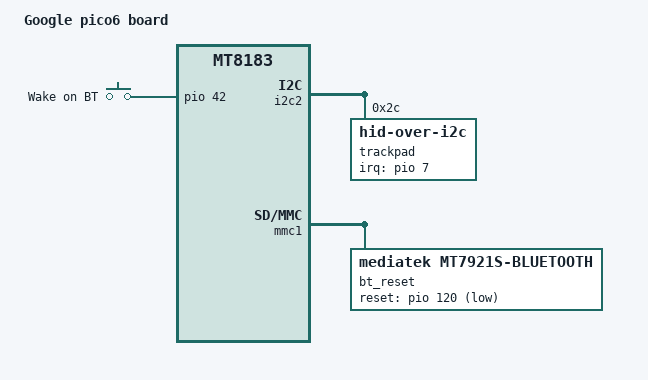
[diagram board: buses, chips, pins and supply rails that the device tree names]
// SPDX-License-Identifier: (GPL-2.0 OR MIT)
/*
 * Copyright 2023 Google LLC
 */

/dts-v1/;
#include "mt8183-kukui-jacuzzi.dtsi"
#include "mt8183-kukui-audio-ts3a227e-max98357a.dtsi"

/ {
	model = "Google pico6 board";
	chassis-type = "convertible";
	compatible = "google,pico-sku2", "google,pico", "mediatek,mt8183";

	bt_wakeup: bt-wakeup {
		compatible = "gpio-keys";
		pinctrl-names = "default";
		pinctrl-0 = <&bt_pins_wakeup>;

		wobt {
			label = "Wake on BT";
			gpios = <&pio 42 GPIO_ACTIVE_HIGH>;
			linux,code = <KEY_WAKEUP>;
			wakeup-source;
		};
	};
};

&i2c_tunnel {
	google,remote-bus = <0>;
};

&i2c2 {
	i2c-scl-internal-delay-ns = <25000>;

	trackpad@2c {
		compatible = "hid-over-i2c";
		reg = <0x2c>;
		hid-descr-addr = <0x20>;

		pinctrl-names = "default";
		pinctrl-0 = <&trackpad_pins>;

		interrupts-extended = <&pio 7 IRQ_TYPE_LEVEL_LOW>;

		wakeup-source;
	};
};

&wifi_wakeup {
	wowlan {
		gpios = <&pio 113 GPIO_ACTIVE_LOW>;
	};
};

&wifi_pwrseq {
	post-power-on-delay-ms = <50>;

	/* Toggle WIFI_ENABLE to reset the chip. */
	reset-gpios = <&pio 8 GPIO_ACTIVE_LOW>;
};

&wifi_pins_pwrseq {
	pins-wifi-enable {
		pinmux = <PINMUX_GPIO8__FUNC_GPIO8>;
	};
};

&mmc1_pins_default {
	pins-cmd-dat {
		drive-strength = <MTK_DRIVE_6mA>;
	};
	pins-clk {
		drive-strength = <MTK_DRIVE_6mA>;
	};
};

&mmc1_pins_uhs {
	pins-clk {
		drive-strength = <MTK_DRIVE_6mA>;
	};
};

&mmc1 {
	bt_reset: bt-reset {
		compatible = "mediatek,mt7921s-bluetooth";
		pinctrl-names = "default";
		pinctrl-0 = <&bt_pins_reset>;
		reset-gpios = <&pio 120 GPIO_ACTIVE_LOW>;
	};
};

&pio {
	bt_pins_wakeup: bt-pins-wakeup {
		piins-bt-wakeup {
			pinmux = <PINMUX_GPIO42__FUNC_GPIO42>;
			input-enable;
		};
	};

	bt_pins_reset: bt-pins-reset {
		pins-bt-reset {
			pinmux = <PINMUX_GPIO120__FUNC_GPIO120>;
			output-high;
		};
	};
};

/delete-node/ &bluetooth;
/delete-node/ &bt_pins;
